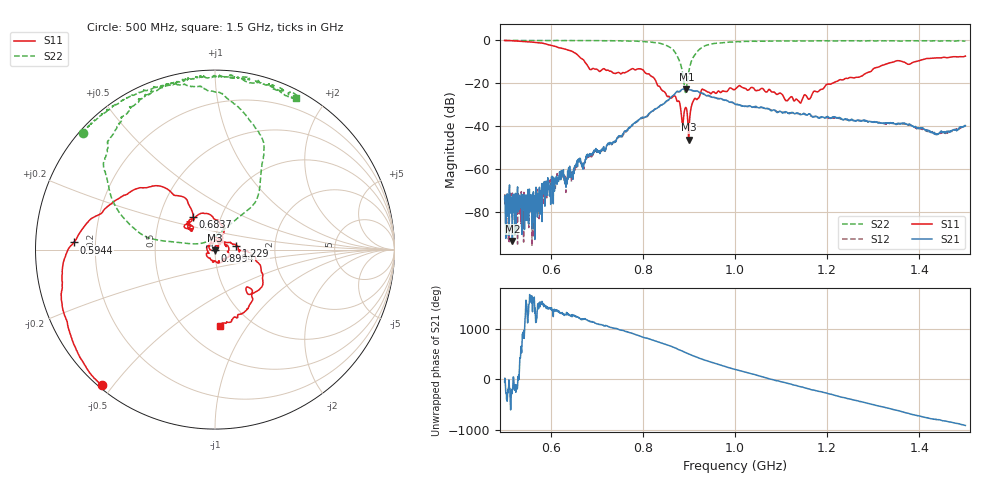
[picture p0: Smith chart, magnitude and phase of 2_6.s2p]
!Agilent Technologies,E8364B,US42250235,A.06.04.32
!Agilent E8364B: A.06.04.32
!Date: Friday, January 15, 2021 14:56:16
!Correction: S11(Full 2 Port(1,2)) S21(Full 2 Port(1,2)) S12(Full 2 Port(1,2)) S22(Full 2 Port(1,2))
!S2P File: Measurements: S11, S21, S12, S22:
# Hz S  dB  R 50
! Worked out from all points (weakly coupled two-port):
!   1601 points, 500 MHz to 1.5 GHz, reference 50 ohm
!   highest |S21| = -22.68 dB at 894.4 MHz (marker M1); lowest = -93.6 dB at 516.9 MHz (marker M2)
!   lowest |S11| = -46.4 dB at 899.4 MHz (marker M3), VSWR 1.01, Z = 50 - j0.477 ohm
!   |S11| at or under -10 dB: 673.6 MHz to 1.346 GHz (672.2 MHz wide, 66.6 % of centre); 1.365 GHz to 1.392 GHz (27.8 MHz wide, 2.02 % of centre)
!   |S22| runs from -24.4 to -0.1 dB; largest |S21 - S12| = 0.0023
!   S11 on the Smith chart (normalised r, x): 500 MHz: 0.01, -0.47; 594.4 MHz: 0.12, +0.03; 683.8 MHz: 0.74, +0.28; 899.4 MHz: 1.00, -0.01; 1.229 GHz: 1.27, +0.05; 1.5 GHz: 0.73, -0.76
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5e8  -0.12 -129.9  -74.09 -47.8  -73.17 43.9  -0.14 138.6
5.16875e8  -0.26 -137.9  -93.56 174.8  -71.22 -109.4  -0.13 136.3
5.69375e8  -1.14 -166.0  -76.92 116.0  -78.26 94.4  -0.16 132.0
5.94375e8  -2.08 177.1  -68.78 -41.4  -68.55 -38.0  -0.13 129.9
6.33125e8  -4.29 152.6  -68.49 -158.5  -70.92 -162.7  -0.15 125.5
6.66875e8  -8.51 126.5  -58.26 107.0  -57.91 103.7  -0.19 121.6
6.8375e8  -13.22 123.9  -54.20 75.6  -53.51 68.7  -0.21 119.9
7.95625e8  -13.39 108.3  -36.21 129.7  -36.60 130.2  -0.57 101.3
8.3375e8  -21.43 65.5  -31.19 19.3  -31.35 19.5  -1.29 86.8
8.69375e8  -26.00 56.3  -25.04 -93.7  -25.17 -93.2  -5.46 60.7
8.85e8  -37.76 56.2  -22.94 -157.3  -23.06 -157.0  -13.81 55.1
8.94375e8  -31.79 41.5  -22.68 162.0  -22.82 162.9  -22.63 149.0
8.99375e8  -46.41 -85.7  -22.95 141.9  -23.05 142.7  -15.02 168.1
9.09375e8  -28.39 155.1  -23.60 105.2  -23.65 106.4  -7.97 169.1
9.3e8  -22.85 94.4  -24.68 34.8  -24.95 35.3  -3.20 149.0
1e9  -22.89 -8.7  -29.84 -163.8  -29.74 -162.4  -0.76 121.0
1.14e9  -28.94 116.1  -34.36 -142.1  -34.32 -139.5  -0.28 100.3
1.166875e9  -25.43 60.8  -35.46 152.5  -35.51 154.9  -0.36 97.3
1.22875e9  -18.36 9.6  -36.26 14.7  -36.68 15.8  -0.27 90.3
1.33375e9  -10.71 -26.2  -38.57 147.9  -38.85 146.4  -0.31 79.3
1.438125e9  -8.26 -68.3  -43.97 -75.8  -43.55 -75.8  -0.32 71.0
1.5e9  -7.41 -86.2  -39.87 169.2  -40.08 165.0  -0.36 61.9
